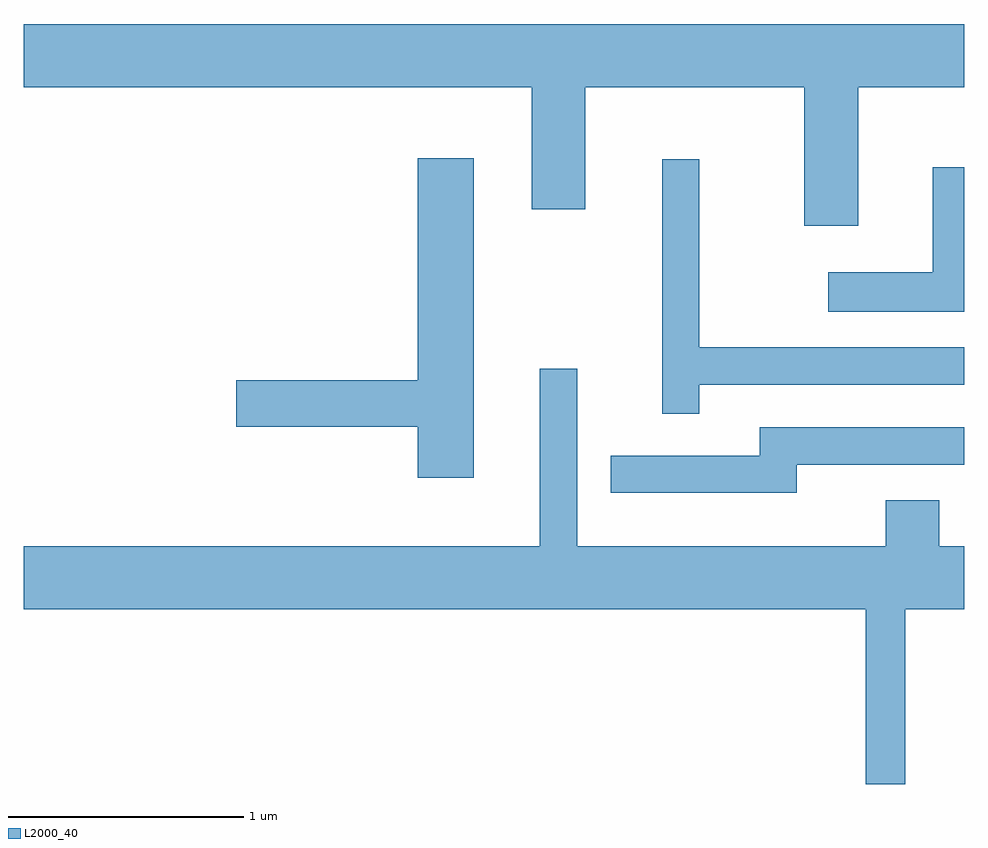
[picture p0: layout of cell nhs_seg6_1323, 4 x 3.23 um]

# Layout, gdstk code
import gdstk
lib = gdstk.Library(unit=1e-6, precision=1e-09)
def P(c, l, *ps):  # polygons
    for p in ps: c.add(gdstk.Polygon(p, *l))
L2000_40 = (2000, 40)

nhs_seg6_1323 = lib.new_cell('nhs_seg6_1323')
P(nhs_seg6_1323, L2000_40, [(227.159,1663.256),(227.611,1663.256),(227.611,1663.524),(223.611,1663.524),(223.611,1663.256),(225.771,1663.256),(225.771,1662.736),(225.999,1662.736),(225.999,1663.256),(226.931,1663.256),(226.931,1662.666),(227.159,1662.666)],
  [(225.524,1662.954),(225.286,1662.954),(225.286,1662.009),(224.516,1662.009),(224.516,1661.811),(225.286,1661.811),(225.286,1661.596),(225.524,1661.596)],
  [(226.484,1661.991),(227.611,1661.991),(227.611,1662.149),(226.484,1662.149),(226.484,1662.948),(226.326,1662.948),(226.326,1661.868),(226.484,1661.868)],
  [(227.611,1662.914),(227.476,1662.914),(227.476,1662.469),(227.033,1662.469),(227.033,1662.301),(227.611,1662.301)],
  [(227.359,1661.036),(227.611,1661.036),(227.611,1661.304),(227.504,1661.304),(227.504,1661.499),(227.276,1661.499),(227.276,1661.304),(225.964,1661.304),(225.964,1662.058),(225.806,1662.058),(225.806,1661.304),(223.611,1661.304),(223.611,1661.036),(227.191,1661.036),(227.191,1660.293),(227.359,1660.293)],
  [(226.899,1661.651),(227.611,1661.651),(227.611,1661.809),(226.741,1661.809),(226.741,1661.689),(226.108,1661.689),(226.108,1661.531),(226.899,1661.531)])

lib.write_gds('nhs_seg6_1323.gds')
